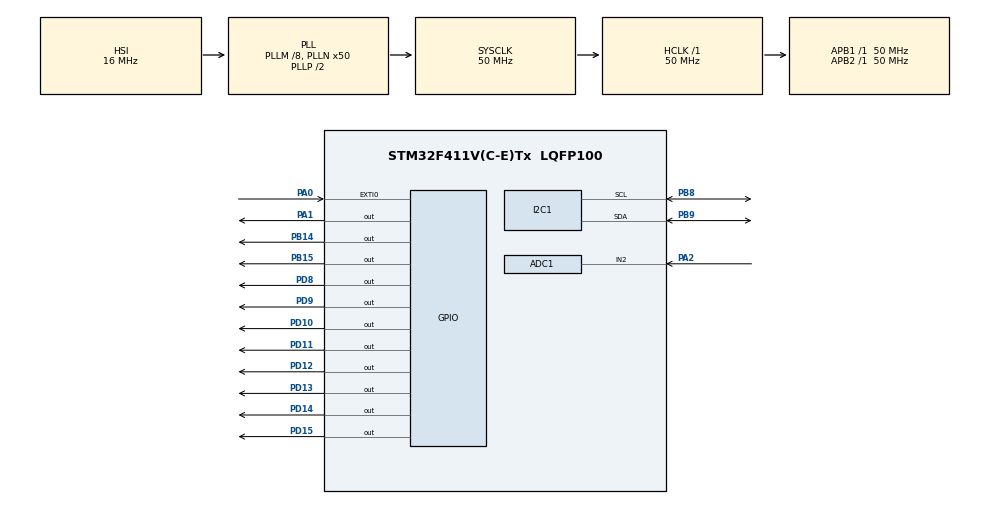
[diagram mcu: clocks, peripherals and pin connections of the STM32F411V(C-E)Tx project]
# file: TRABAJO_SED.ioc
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ADC1.Channel-1\#ChannelRegularConversion=ADC_CHANNEL_2
ADC1.NbrOfConversionFlag=1
ADC1.Rank-1\#ChannelRegularConversion=1
ADC1.Resolution=ADC_RESOLUTION_8B
ADC1.SamplingTime-1\#ChannelRegularConversion=ADC_SAMPLETIME_3CYCLES
ADC1.master=1
Mcu.Family=STM32F4
Mcu.Name=STM32F411V(C-E)Tx
Mcu.Package=LQFP100
NVIC.EXTI0_IRQn=true\:0\:0\:false\:false\:true\:true\:true\:true
NVIC.PriorityGroup=NVIC_PRIORITYGROUP_0
NVIC.TIM2_IRQn=true\:0\:0\:false\:false\:true\:true\:true\:true
PA0-WKUP.GPIO_ModeDefaultEXTI=GPIO_MODE_IT_RISING
PA0-WKUP.Signal=GPXTI0
PA1.PinState=GPIO_PIN_SET
PA1.Signal=GPIO_Output
PA2.Signal=ADCx_IN2
PB14.Signal=GPIO_Output
PB15.Signal=GPIO_Output
PB8.Mode=I2C
PB8.Signal=I2C1_SCL
PB9.Mode=I2C
PB9.Signal=I2C1_SDA
PD10.Signal=GPIO_Output
PD11.Signal=GPIO_Output
PD12.Signal=GPIO_Output
PD13.Signal=GPIO_Output
PD14.Signal=GPIO_Output
PD15.Signal=GPIO_Output
PD8.Signal=GPIO_Output
PD9.Signal=GPIO_Output
ProjectManager.HeapSize=0x200
ProjectManager.StackSize=0x400
ProjectManager.TargetToolchain=STM32CubeIDE
RCC.48MHZClocksFreq_Value=12500000
RCC.AHBFreq_Value=50000000
RCC.APB1Freq_Value=50000000
RCC.APB1TimFreq_Value=50000000
RCC.APB2Freq_Value=50000000
RCC.APB2TimFreq_Value=50000000
RCC.CortexFreq_Value=50000000
RCC.HCLKFreq_Value=50000000
RCC.HSE_VALUE=8000000
RCC.HSI_VALUE=16000000
RCC.LSE_VALUE=32768
RCC.PLLI2SM=5
RCC.PLLI2SN=200
RCC.PLLM=8
RCC.PLLN=50
RCC.PLLQ=8
RCC.SYSCLKFreq_VALUE=50000000
RCC.SYSCLKSource=RCC_SYSCLKSOURCE_PLLCLK
RCC.VCOOutputFreq_Value=100000000
SH.ADCx_IN2.0=ADC1_IN2,IN2
TIM2.Period=5000
TIM2.Prescaler=50000
VP_TIM2_VS_ClockSourceINT.Mode=Internal
board=STM32F411E-DISCO

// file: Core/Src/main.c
/* USER CODE BEGIN Header */
/**
  **************************
  * @file           : main.c
  * @brief          : Main program body
  **************************
  * @attention
  *
  * Copyright (c) 2023 STMicroelectronics.
  * All rights reserved.
  *
  * This software is licensed under terms that can be found in the LICENSE file
  * in the root directory of this software component.
  * If no LICENSE file comes with this software, it is provided AS-IS.
  *
  **************************
  */
/* USER CODE END Header */
#include "main.h"

/* USER CODE BEGIN Includes */

#include "i2c-lcd.h"
#include "DHT.h"
#include "math.h"

#define NUMERO_LED 10

typedef struct PINES{
	GPIO_TypeDef *GPIOx;
	uint16_t GPIO_Pin;
}PINES;

/* USER CODE END Includes */

ADC_HandleTypeDef hadc1;

I2C_HandleTypeDef hi2c1;

TIM_HandleTypeDef htim2;

void SystemClock_Config(void);
static void MX_GPIO_Init(void);
static void MX_I2C1_Init(void);
static void MX_ADC1_Init(void);
static void MX_TIM2_Init(void);

/* USER CODE BEGIN 0 */

	/* Variables globales */
	PINES PINES_LED[] = {{GPIOB,GPIO_PIN_14},{GPIOB,GPIO_PIN_15},{GPIOD,GPIO_PIN_8},
						 {GPIOD,GPIO_PIN_9},{GPIOD,GPIO_PIN_10},{GPIOD,GPIO_PIN_11},
						 {GPIOD,GPIO_PIN_12},{GPIOD,GPIO_PIN_13},{GPIOD,GPIO_PIN_14},
						 {GPIOD,GPIO_PIN_15}};

	DHT_DataTypedef DHT22_Data; //Estructura que guarda la temeperatura y la humedad
	float Humidity; //Variable para guardar la humedad
	float Temperature; //Variable para guardar la temperatura
	volatile int Seleccion_estado = 0; //Se emplea para cambiar el estado y seleccionar la temperatura que queremos
									   //Se pone como volatile pues se usa como interrupción
	static float Temp_control = 25.0; //Temperatura que queremos mantener. Se inicializa en 25ºC
	uint16_t Lec_Temp_Control; //Guarda el valor de la lectura analógica del potenciómetro usado para establecer la Temperatura de control
							   //Se ha usado una resolución de 8 bits para el ADC
	static uint8_t T_min = 20 , T_max = 30 ; //Se definen unos márgenes de funcionamiento que se pueden cambiar
	uint8_t T_diff = 0; ; //Diferencia entre los márgenes de temperatura. Se emplea para la interpolación del potenciómetro

	/* Prototipo de funciones utilizadas */

	/* Devuelve TRUE cuando el boton ha sido presionado tras el periodo de dobounce */
	int debouncer(volatile int* button_int, GPIO_TypeDef* GPIO_port, uint16_t GPIO_number);

	/* Enciende los LED correspondientes a al temp seleccionada y apaga el resto */
	void encenderled(int i, PINES PINES_LED[]);

	/* INTERRUPCIONES */

	void HAL_GPIO_EXTI_Callback(uint16_t GPIO_Pin) // Genera la interrupción cuando se pulsa el "user boton" de la placa (PA0)
	{
		//Interrupcion debida al PIN_0
		if(GPIO_Pin==GPIO_PIN_0){
			Seleccion_estado = 1;
		}
	}

	void HAL_TIM_PeriodElapsedCallback(TIM_HandleTypeDef *htim) // Genera una interrupción cada 5 segundos
	{
	  /* Prevent unused argument(s) compilation warning */
	  UNUSED(htim);
	  /* NOTE : This function Should not be modified, when the callback is needed,
	            the __HAL_TIM_PeriodElapsedCallback could be implemented in the user file */

	  /* Obtencion de datos del sensor */
	  /* Ver libreria "DHT.h" */
	  DHT_GetData(&DHT22_Data);

	  /* Asignación de variables globales de Temperatura y Humedad*/
	  Temperature = DHT22_Data.Temperature;
	  Humidity = DHT22_Data.Humidity;

	}

/* USER CODE END 0 */

int main(void)
{
  /* USER CODE BEGIN 1 */

	/* Asignación de variables */
	T_diff = T_max - T_min ;
	float salto_temp = T_diff / NUMERO_LED ; //Se utiliza para el cambio en los LED iluminados
	int total_led = 0 ; //Será el número total de LED a encenderse
	int j = 1; //A usar dentro de un bucle

	/* Variables locales */
	uint32_t tick_start; //Pensado para guarda el valor de HAL_GetTick()
	int t_espera = 2000 ; //Tiempo de espera en ms

	// De momento estas variables no se usan, se pueden usar con la funcion HAL_GetTick() --> while((HAL_GetTick() - tick_pulso) < t_espera)

  /* USER CODE END 1 */

  /* MCU Configuration--------------------------------------------------------*/

  /* Reset of all peripherals, Initializes the Flash interface and the Systick. */
  HAL_Init();

  /* Configure the system clock */
  SystemClock_Config();

  /* Initialize all configured peripherals */
  MX_GPIO_Init();
  MX_I2C1_Init();
  MX_ADC1_Init();
  MX_TIM2_Init();
  /* USER CODE BEGIN 2 */

	  /* Mensaje de inicio */
	  lcd_init();
	  lcd_clear();
	  lcd_put_cur(0,0);
	  lcd_send_string("INICIANDO>>>>");
	  HAL_Delay(2000);
	  lcd_clear();

	  /* Habilitacion de interrupciones */
	  HAL_NVIC_EnableIRQ(EXTI0_IRQn);
	  HAL_TIM_Base_Start_IT(&htim2);

	  /* Habilitamos el conversor analogico digital */
	  HAL_ADC_Start(&hadc1);

  /* USER CODE END 2 */

  /* Infinite loop */
  while (1)
  {

    /* USER CODE BEGIN 3 */

	  if(debouncer(&Seleccion_estado, GPIOA, GPIO_PIN_0)){ //Estado para la eleccion de la temperatura de control. NO ESCRIBIR AQU�?

		  lcd_clear();
		  lcd_put_cur(0,0);
		  lcd_send_string("Choose new temp");
		  int i = 1;

		  while(!debouncer(&Seleccion_estado, GPIOA, GPIO_PIN_0)){

			  //Habilitacion del conversor
			  HAL_ADC_Start(&hadc1);

			  //Lectura del conversor
			  if(HAL_ADC_PollForConversion(&hadc1, HAL_MAX_DELAY) == HAL_OK)
				  Lec_Temp_Control = HAL_ADC_GetValue(&hadc1);

			  //Asignación de la temperatura de control
			  Temp_control = (float)Lec_Temp_Control / 255 * T_diff + 15; //La pendiente de la interpolación es 25/255

			  //Mostramos por pantalla la temperatura que escogemos
			  //Se ha añadido el bucle para reducir la frecuencia de la pantalla y evitar el parpadeo. Se ha tomado un valor empírico
			  if (!(i++ % 20000)){
				  Display_Temp(Temp_control*10 , 1);
				  i = 1;
			  }//End_IF

		  }//End_WHILE

		  //Deshabilitacion del conversor
		  HAL_ADC_Stop(&hadc1);

	  }//End_IF

	  else{ //Estado para la ejecución del programa con una temperatura de control dada

		  /* Mostramos los valores obtenidos en la pantalla LCD */
		  /* Ver libreria "i2c-lcd.h" */
		  if (!(j++ % 20000)){
			  Display_Rh(Humidity);
			  Display_Temp(Temperature , 0);
			  j = 1;
		  }
		  /* Control de la barra LED */

		  /* Se trunca el numero de led en función del salto térmico */
		  total_led = (int)((Temperature/10 - Temp_control)/ salto_temp);

		  /* Llamada a la función encenderled */

		  encenderled(total_led,PINES_LED);

		  /* Control del servomotor */

		}//End_ELSE

 }//End_WHILE(1)

  /* USER CODE END 3 */
}

void SystemClock_Config(void)
{
  RCC_OscInitTypeDef RCC_OscInitStruct = {0};
  RCC_ClkInitTypeDef RCC_ClkInitStruct = {0};

  /** Configure the main internal regulator output voltage
  */
  __HAL_RCC_PWR_CLK_ENABLE();
  __HAL_PWR_VOLTAGESCALING_CONFIG(PWR_REGULATOR_VOLTAGE_SCALE1);

  /** Initializes the RCC Oscillators according to the specified parameters
  * in the RCC_OscInitTypeDef structure.
  */
  RCC_OscInitStruct.OscillatorType = RCC_OSCILLATORTYPE_HSI;
  RCC_OscInitStruct.HSIState = RCC_HSI_ON;
  RCC_OscInitStruct.HSICalibrationValue = RCC_HSICALIBRATION_DEFAULT;
  RCC_OscInitStruct.PLL.PLLState = RCC_PLL_ON;
  RCC_OscInitStruct.PLL.PLLSource = RCC_PLLSOURCE_HSI;
  RCC_OscInitStruct.PLL.PLLM = 8;
  RCC_OscInitStruct.PLL.PLLN = 50;
  RCC_OscInitStruct.PLL.PLLP = RCC_PLLP_DIV2;
  RCC_OscInitStruct.PLL.PLLQ = 8;
  if (HAL_RCC_OscConfig(&RCC_OscInitStruct) != HAL_OK)
  {
    Error_Handler();
  }

  /** Initializes the CPU, AHB and APB buses clocks
  */
  RCC_ClkInitStruct.ClockType = RCC_CLOCKTYPE_HCLK|RCC_CLOCKTYPE_SYSCLK
                              |RCC_CLOCKTYPE_PCLK1|RCC_CLOCKTYPE_PCLK2;
  RCC_ClkInitStruct.SYSCLKSource = RCC_SYSCLKSOURCE_PLLCLK;
  RCC_ClkInitStruct.AHBCLKDivider = RCC_SYSCLK_DIV1;
  RCC_ClkInitStruct.APB1CLKDivider = RCC_HCLK_DIV1;
  RCC_ClkInitStruct.APB2CLKDivider = RCC_HCLK_DIV1;

  if (HAL_RCC_ClockConfig(&RCC_ClkInitStruct, FLASH_LATENCY_1) != HAL_OK)
  {
    Error_Handler();
  }
}

static void MX_ADC1_Init(void)
{

  ADC_ChannelConfTypeDef sConfig = {0};

  /** Configure the global features of the ADC (Clock, Resolution, Data Alignment and number of conversion)
  */
  hadc1.Instance = ADC1;
  hadc1.Init.ClockPrescaler = ADC_CLOCK_SYNC_PCLK_DIV2;
  hadc1.Init.Resolution = ADC_RESOLUTION_8B;
  hadc1.Init.ScanConvMode = DISABLE;
  hadc1.Init.ContinuousConvMode = DISABLE;
  hadc1.Init.DiscontinuousConvMode = DISABLE;
  hadc1.Init.ExternalTrigConvEdge = ADC_EXTERNALTRIGCONVEDGE_NONE;
  hadc1.Init.ExternalTrigConv = ADC_SOFTWARE_START;
  hadc1.Init.DataAlign = ADC_DATAALIGN_RIGHT;
  hadc1.Init.NbrOfConversion = 1;
  hadc1.Init.DMAContinuousRequests = DISABLE;
  hadc1.Init.EOCSelection = ADC_EOC_SINGLE_CONV;
  if (HAL_ADC_Init(&hadc1) != HAL_OK)
  {
    Error_Handler();
  }

  /** Configure for the selected ADC regular channel its corresponding rank in the sequencer and its sample time.
  */
  sConfig.Channel = ADC_CHANNEL_2;
  sConfig.Rank = 1;
  sConfig.SamplingTime = ADC_SAMPLETIME_3CYCLES;
  if (HAL_ADC_ConfigChannel(&hadc1, &sConfig) != HAL_OK)
  {
    Error_Handler();
  }

}

static void MX_I2C1_Init(void)
{

  hi2c1.Instance = I2C1;
  hi2c1.Init.ClockSpeed = 100000;
  hi2c1.Init.DutyCycle = I2C_DUTYCYCLE_2;
  hi2c1.Init.OwnAddress1 = 0;
  hi2c1.Init.AddressingMode = I2C_ADDRESSINGMODE_7BIT;
  hi2c1.Init.DualAddressMode = I2C_DUALADDRESS_DISABLE;
  hi2c1.Init.OwnAddress2 = 0;
  hi2c1.Init.GeneralCallMode = I2C_GENERALCALL_DISABLE;
  hi2c1.Init.NoStretchMode = I2C_NOSTRETCH_DISABLE;
  if (HAL_I2C_Init(&hi2c1) != HAL_OK)
  {
    Error_Handler();
  }

}

static void MX_TIM2_Init(void)
{

  TIM_ClockConfigTypeDef sClockSourceConfig = {0};
  TIM_MasterConfigTypeDef sMasterConfig = {0};

  htim2.Instance = TIM2;
  htim2.Init.Prescaler = 50000;
  htim2.Init.CounterMode = TIM_COUNTERMODE_UP;
  htim2.Init.Period = 5000;
  htim2.Init.ClockDivision = TIM_CLOCKDIVISION_DIV1;
  htim2.Init.AutoReloadPreload = TIM_AUTORELOAD_PRELOAD_DISABLE;
  if (HAL_TIM_Base_Init(&htim2) != HAL_OK)
  {
    Error_Handler();
  }
  sClockSourceConfig.ClockSource = TIM_CLOCKSOURCE_INTERNAL;
  if (HAL_TIM_ConfigClockSource(&htim2, &sClockSourceConfig) != HAL_OK)
  {
    Error_Handler();
  }
  sMasterConfig.MasterOutputTrigger = TIM_TRGO_RESET;
  sMasterConfig.MasterSlaveMode = TIM_MASTERSLAVEMODE_DISABLE;
  if (HAL_TIMEx_MasterConfigSynchronization(&htim2, &sMasterConfig) != HAL_OK)
  {
    Error_Handler();
  }

}

static void MX_GPIO_Init(void)
{
  GPIO_InitTypeDef GPIO_InitStruct = {0};

  /* GPIO Ports Clock Enable */
  __HAL_RCC_GPIOA_CLK_ENABLE();
  __HAL_RCC_GPIOB_CLK_ENABLE();
  __HAL_RCC_GPIOD_CLK_ENABLE();

  /*Configure GPIO pin Output Level */
  HAL_GPIO_WritePin(GPIOA, GPIO_PIN_1, GPIO_PIN_SET);

  /*Configure GPIO pin Output Level */
  HAL_GPIO_WritePin(GPIOB, GPIO_PIN_14|GPIO_PIN_15, GPIO_PIN_RESET);

  /*Configure GPIO pin Output Level */
  HAL_GPIO_WritePin(GPIOD, GPIO_PIN_8|GPIO_PIN_9|GPIO_PIN_10|GPIO_PIN_11
                          |GPIO_PIN_12|GPIO_PIN_13|GPIO_PIN_14|GPIO_PIN_15, GPIO_PIN_RESET);

  /*Configure GPIO pin : PA0 */
  GPIO_InitStruct.Pin = GPIO_PIN_0;
  GPIO_InitStruct.Mode = GPIO_MODE_IT_RISING;
  GPIO_InitStruct.Pull = GPIO_NOPULL;
  HAL_GPIO_Init(GPIOA, &GPIO_InitStruct);

  /*Configure GPIO pin : PA1 */
  GPIO_InitStruct.Pin = GPIO_PIN_1;
  GPIO_InitStruct.Mode = GPIO_MODE_OUTPUT_PP;
  GPIO_InitStruct.Pull = GPIO_NOPULL;
  GPIO_InitStruct.Speed = GPIO_SPEED_FREQ_LOW;
  HAL_GPIO_Init(GPIOA, &GPIO_InitStruct);

  /*Configure GPIO pins : PB14 PB15 */
  GPIO_InitStruct.Pin = GPIO_PIN_14|GPIO_PIN_15;
  GPIO_InitStruct.Mode = GPIO_MODE_OUTPUT_PP;
  GPIO_InitStruct.Pull = GPIO_NOPULL;
  GPIO_InitStruct.Speed = GPIO_SPEED_FREQ_LOW;
  HAL_GPIO_Init(GPIOB, &GPIO_InitStruct);

  /*Configure GPIO pins : PD8 PD9 PD10 PD11
                           PD12 PD13 PD14 PD15 */
  GPIO_InitStruct.Pin = GPIO_PIN_8|GPIO_PIN_9|GPIO_PIN_10|GPIO_PIN_11
                          |GPIO_PIN_12|GPIO_PIN_13|GPIO_PIN_14|GPIO_PIN_15;
  GPIO_InitStruct.Mode = GPIO_MODE_OUTPUT_PP;
  GPIO_InitStruct.Pull = GPIO_NOPULL;
  GPIO_InitStruct.Speed = GPIO_SPEED_FREQ_LOW;
  HAL_GPIO_Init(GPIOD, &GPIO_InitStruct);

  /* EXTI interrupt init*/
  HAL_NVIC_SetPriority(EXTI0_IRQn, 0, 0);
  HAL_NVIC_EnableIRQ(EXTI0_IRQn);

}

/* USER CODE BEGIN 4 */

	/* Definción de funciones utilizadas */
	int debouncer(volatile int* button_int, GPIO_TypeDef* GPIO_port, uint16_t GPIO_number){
		static uint8_t button_count=0;
		static int counter=0;

		if (*button_int==1){
			if (button_count==0) {
				counter=HAL_GetTick();
				button_count++;
			}
			if (HAL_GetTick()-counter>=20){
				counter=HAL_GetTick();
				if (HAL_GPIO_ReadPin(GPIO_port, GPIO_number)!=1){
					button_count=1;
				}
				else{
					button_count++;
				}
				if (button_count==4){ //Periodo antirebotes
					button_count=0;
					*button_int=0;
					return 1;
				}
			}
		}
		return 0;
	}

	void encenderled(int i, PINES PINES_LED[]){

		int j = 0;

		for(int n = 0 ; n < i ; n++){
			HAL_GPIO_WritePin(PINES_LED[n].GPIOx, PINES_LED[n].GPIO_Pin, GPIO_PIN_SET);
			j++;
		}//End_FOR

		while(j < NUMERO_LED){
			HAL_GPIO_WritePin(PINES_LED[j].GPIOx, PINES_LED[j].GPIO_Pin, GPIO_PIN_RESET);
			j++;
		}//End_WHILE
	};

/* USER CODE END 4 */

void Error_Handler(void)
{
  __disable_irq();
  while (1)
  {
  }
}
